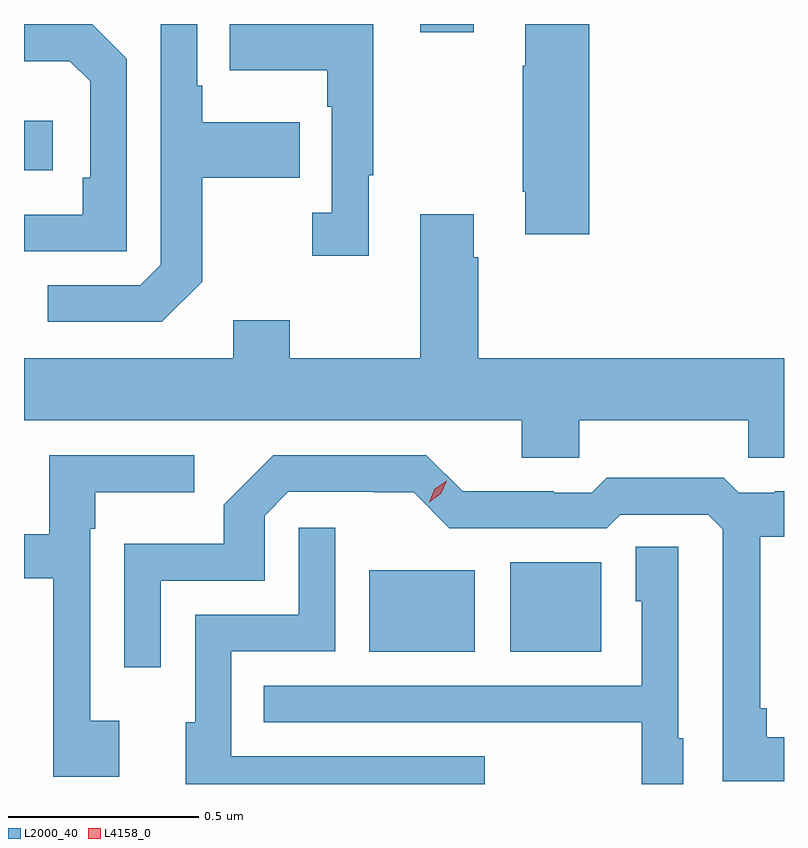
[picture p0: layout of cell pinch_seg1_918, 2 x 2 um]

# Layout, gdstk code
import gdstk
lib = gdstk.Library(unit=1e-6, precision=1e-09)
def R(c, l, rs):  # rectangles x0, y0, x1, y1
    for r in rs: c.add(gdstk.rectangle(r[:2], r[2:], *l))
def P(c, l, *ps):  # polygons
    for p in ps: c.add(gdstk.Polygon(p, *l))
L2000_40 = (2000, 40)
L4158_0 = (4158, 0)

pinch_seg1_918 = lib.new_cell('pinch_seg1_918')
R(pinch_seg1_918, L2000_40, [(600.482,532.475,600.76,532.69), (600.854,532.475,601.093,532.711), (599.574,533.742,599.65,533.872), (600.617,534.105,600.757,534.127)])
P(pinch_seg1_918, L2000_40, [(600.481,533.729),(600.493,533.729),(600.493,534.127),(600.115,534.127),(600.115,534.005),(600.372,534.005),(600.372,533.909),(600.384,533.909),(600.384,533.63),(600.333,533.63),(600.333,533.517),(600.481,533.517)],
  [(600.043,533.449),(600.043,533.722),(600.299,533.722),(600.299,533.869),(600.043,533.869),(600.043,533.965),(600.03,533.965),(600.03,534.127),(599.934,534.127),(599.934,533.493),(599.88,533.439),(599.637,533.439),(599.637,533.343),(599.937,533.343)],
  [(601.061,534.127),(600.893,534.127),(600.893,534.017),(600.886,534.017),(600.886,533.686),(600.893,533.686),(600.893,533.574),(601.061,533.574)],
  [(599.844,534.036),(599.754,534.126),(599.574,534.126),(599.574,534.029),(599.695,534.029),(599.748,533.976),(599.748,533.722),(599.728,533.722),(599.728,533.625),(599.574,533.625),(599.574,533.529),(599.844,533.529)],
  [(601.035,533.084),(601.48,533.084),(601.48,532.986),(601.574,532.986),(601.574,533.248),(600.77,533.248),(600.77,533.513),(600.757,533.513),(600.757,533.626),(600.617,533.626),(600.617,533.248),(600.273,533.248),(600.273,533.347),(600.125,533.347),(600.125,533.248),(599.574,533.248),(599.574,533.084),(600.884,533.084),(600.884,532.986),(601.035,532.986)],
  [(601.574,532.25),(601.529,532.25),(601.529,532.327),(601.511,532.327),(601.511,532.778),(601.574,532.778),(601.574,532.898),(601.549,532.898),(601.549,532.893),(601.455,532.893),(601.415,532.933),(601.108,532.933),(601.068,532.893),(600.968,532.893),(600.968,532.898),(600.728,532.898),(600.633,532.992),(600.23,532.992),(600.1,532.862),(600.1,532.759),(599.838,532.759),(599.838,532.434),(599.934,532.434),(599.934,532.662),(600.207,532.662),(600.207,532.833),(600.27,532.896),(600.494,532.896),(600.494,532.895),(600.599,532.895),(600.693,532.8),(601.107,532.8),(601.143,532.836),(601.374,532.836),(601.413,532.797),(601.413,532.134),(601.574,532.134)],
  [(599.824,532.294),(599.748,532.294),(599.748,532.799),(599.761,532.799),(599.761,532.895),(600.022,532.895),(600.022,532.992),(599.64,532.992),(599.64,532.784),(599.574,532.784),(599.574,532.668),(599.651,532.668),(599.651,532.146),(599.824,532.146)],
  [(600.787,532.2),(600.12,532.2),(600.12,532.476),(600.393,532.476),(600.393,532.801),(600.297,532.801),(600.297,532.572),(600.024,532.572),(600.024,532.29),(599.999,532.29),(599.999,532.127),(600.787,532.127)],
  [(601.309,532.248),(601.296,532.248),(601.296,532.751),(601.184,532.751),(601.184,532.608),(601.2,532.608),(601.2,532.386),(600.205,532.386),(600.205,532.29),(600.883,532.29),(600.883,532.289),(601.2,532.289),(601.2,532.127),(601.309,532.127)])
P(pinch_seg1_918, L4158_0, [(600.64,532.869),(600.64,532.869),(600.655,532.904),(600.686,532.925),(600.686,532.925),(600.686,532.925),(600.671,532.891),(600.64,532.869)])

lib.write_gds('pinch_seg1_918.gds')
